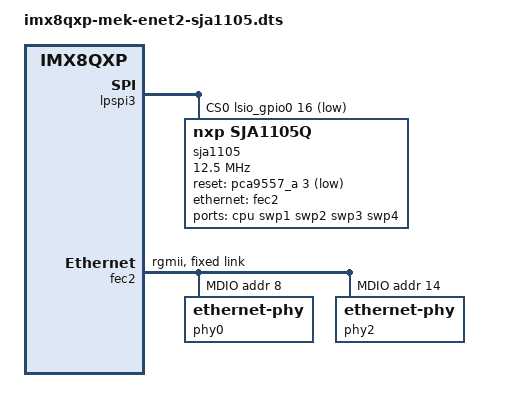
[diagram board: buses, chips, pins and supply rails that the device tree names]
// SPDX-License-Identifier: GPL-2.0+
/*
 * Copyright 2023 NXP
 */

#include "imx8qxp-mek-enet2.dts"

/ {
	clock_sja1105: clock-sja1105 {
		compatible = "fixed-clock";
		#clock-cells = <0>;
		clock-frequency = <25000000>;
	};
};

&iomuxc {
	pinctrl_lpspi3: pinctrl_lpspi3grp {
		fsl,pins = <
			IMX8QXP_SPI3_SDO_ADMA_SPI3_SDO		0x6000040
			IMX8QXP_SPI3_SDI_ADMA_SPI3_SDI          0x6000040
			IMX8QXP_SPI3_SCK_ADMA_SPI3_SCK          0x6000040
			IMX8QXP_SPI3_CS0_LSIO_GPIO0_IO16        0x0000021
		>;
	};
};

&pinctrl_fec2 {
	fsl,pins = <
		IMX8QXP_COMP_CTL_GPIO_1V8_3V3_ENET_ENETB0_PAD	0x000014a0
		IMX8QXP_COMP_CTL_GPIO_1V8_3V3_ENET_ENETB1_PAD	0x000014a0
		IMX8QXP_ENET0_MDC_CONN_ENET1_MDC		0x06000020
		IMX8QXP_ENET0_MDIO_CONN_ENET1_MDIO		0x06000020
		IMX8QXP_ESAI0_SCKR_CONN_ENET1_RGMII_TX_CTL	0x06000020
		IMX8QXP_ESAI0_FSR_CONN_ENET1_RGMII_TXC		0x06000020
		IMX8QXP_ESAI0_TX4_RX1_CONN_ENET1_RGMII_TXD0	0x06000020
		IMX8QXP_ESAI0_TX5_RX0_CONN_ENET1_RGMII_TXD1	0x06000020
		IMX8QXP_ESAI0_FST_CONN_ENET1_RGMII_TXD2		0x06000020
		IMX8QXP_ESAI0_SCKT_CONN_ENET1_RGMII_TXD3	0x06000020
		IMX8QXP_ESAI0_TX0_CONN_ENET1_RGMII_RXC		0x06000020
		IMX8QXP_SPDIF0_TX_CONN_ENET1_RGMII_RX_CTL	0x06000020
		IMX8QXP_SPDIF0_RX_CONN_ENET1_RGMII_RXD0		0x06000020
		IMX8QXP_ESAI0_TX3_RX2_CONN_ENET1_RGMII_RXD1	0x06000020
		IMX8QXP_ESAI0_TX2_RX3_CONN_ENET1_RGMII_RXD2	0x06000020
		IMX8QXP_ESAI0_TX1_CONN_ENET1_RGMII_RXD3		0x06000020
	>;
};

&fec1 {
	status = "disabled";
};

&reg_fec2_supply {
	/delete-property/ enable-active-high;
	gpio = <&max7322 0 GPIO_ACTIVE_LOW>;
	regulator-always-on;
};

&lpspi3 {
	pinctrl-names = "default";
	pinctrl-0 = <&pinctrl_lpspi3>;
	assigned-clocks = <&clk IMX_SC_R_SPI_3 IMX_SC_PM_CLK_PER>;
	assigned-clock-rates = <100000000>;
	cs-gpios = <&lsio_gpio0 16 GPIO_ACTIVE_LOW>;
	fsl,spi-num-chipselects = <1>;
	spi-cpha;
	status = "okay";

	sja1105@0 {
		reg = <0x0>;
		#address-cells = <1>;
		#size-cells = <0>;
		compatible = "nxp,sja1105q";
		reset-gpios = <&pca9557_a 3 GPIO_ACTIVE_LOW>;
		spi-max-frequency = <12500000>;
		spi-cpha;
		clocks = <&clock_sja1105>;

		ports {
			#address-cells = <1>;
			#size-cells = <0>;
			port@0 {
				reg = <0>;
				label = "cpu";
				ethernet = <&fec2>;
				phy-mode = "rgmii-id";
				tx-internal-delay-ps = <2000>;

				fixed-link {
					speed = <1000>;
					full-duplex;
				};
			};

			port@1 {
				reg = <1>;
				label = "swp1";
				phy-handle = <&phy0>;
				phy-mode = "mii";
			};

			port@2 {
				reg = <2>;
				label = "swp2";
				phy-handle = <&phy1>;
				phy-mode = "mii";
			};

			port@3 {
				reg = <3>;
				label = "swp3";
				phy-handle = <&phy2>;
				phy-mode = "rmii";
			};

			port@4 {
				reg = <4>;
				label = "swp4";
				phy-handle = <&phy3>;
				phy-mode = "rmii";
			};
		};
	};
};

&fec2 {
	phy-mode = "rgmii";
	/delete-property/ phy-handle;
	/delete-property/ rx-internal-delay-ps;
	tx-internal-delay-ps = <2000>;
	status = "okay";

	fixed-link {
		speed=<1000>;
		full-duplex;
	};

	mdio {
		#address-cells = <1>;
		#size-cells = <0>;

		phy0: ethernet-phy@8 {
			reg = <0x8>;
			max-speed = <100>;
			#address-cells = <1>;
			#size-cells = <0>;

			phy1: ethernet-phy@9 {
				reg = <0x9>;
				max-speed = <100>;
			};

		};

		phy2: ethernet-phy@e {
			reg = <0xe>;
			max-speed = <100>;
			#address-cells = <1>;
			#size-cells = <0>;

			phy3: ethernet-phy@f {
				reg = <0xf>;
				max-speed = <100>;
			};
		};

	};
};

&ethphy1 {
	status = "disabled";
};
